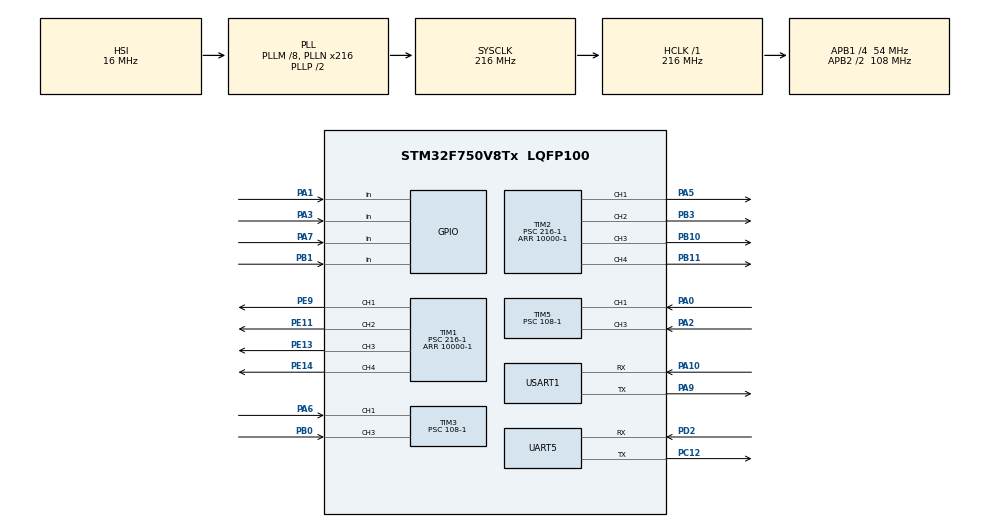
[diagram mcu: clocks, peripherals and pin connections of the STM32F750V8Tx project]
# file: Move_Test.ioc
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Mcu.Family=STM32F7
Mcu.Name=STM32F750V8Tx
Mcu.Package=LQFP100
NVIC.PriorityGroup=NVIC_PRIORITYGROUP_4
NVIC.TIM3_IRQn=true\:0\:0\:true\:false\:true\:true\:true\:true
NVIC.TIM5_IRQn=true\:1\:0\:true\:false\:true\:true\:true\:true
NVIC.TIM6_DAC_IRQn=true\:2\:0\:true\:false\:true\:true\:true\:true
NVIC.UART5_IRQn=true\:2\:0\:true\:false\:true\:true\:true\:true
NVIC.USART1_IRQn=true\:2\:0\:true\:false\:true\:true\:true\:true
PA0/WKUP.Signal=S_TIM5_CH1
PA1.GPIO_PuPd=GPIO_PULLDOWN
PA1.Signal=GPIO_Input
PA10.Mode=Asynchronous
PA10.Signal=USART1_RX
PA2.Signal=S_TIM5_CH3
PA3.GPIO_PuPd=GPIO_PULLDOWN
PA3.Signal=GPIO_Input
PA5.Signal=S_TIM2_CH1_ETR
PA6.Signal=S_TIM3_CH1
PA7.GPIO_PuPd=GPIO_PULLDOWN
PA7.Signal=GPIO_Input
PA9.Mode=Asynchronous
PA9.Signal=USART1_TX
PB0.Signal=S_TIM3_CH3
PB1.GPIO_PuPd=GPIO_PULLDOWN
PB1.Signal=GPIO_Input
PB10.Signal=S_TIM2_CH3
PB11.Signal=S_TIM2_CH4
PB3.Signal=S_TIM2_CH2
PC12.Mode=Asynchronous
PC12.Signal=UART5_TX
PD2.Mode=Asynchronous
PD2.Signal=UART5_RX
PE11.Signal=S_TIM1_CH2
PE13.Signal=S_TIM1_CH3
PE14.Signal=S_TIM1_CH4
PE9.Signal=S_TIM1_CH1
PH0/OSC_IN.Mode=HSE-External-Oscillator
PH0/OSC_IN.Signal=RCC_OSC_IN
PH1/OSC_OUT.Mode=HSE-External-Oscillator
PH1/OSC_OUT.Signal=RCC_OSC_OUT
ProjectManager.HeapSize=0x200
ProjectManager.StackSize=0x400
ProjectManager.TargetToolchain=MDK-ARM V5.32
RCC.AHBFreq_Value=216000000
RCC.APB1CLKDivider=RCC_HCLK_DIV4
RCC.APB1Freq_Value=54000000
RCC.APB1TimFreq_Value=108000000
RCC.APB2CLKDivider=RCC_HCLK_DIV2
RCC.APB2Freq_Value=108000000
RCC.APB2TimFreq_Value=216000000
RCC.CortexFreq_Value=216000000
RCC.HCLKFreq_Value=216000000
RCC.HSE_VALUE=25000000
RCC.HSI_VALUE=16000000
RCC.LSE_VALUE=32768
RCC.PLLM=8
RCC.PLLN=216
RCC.SYSCLKFreq_VALUE=216000000
RCC.SYSCLKSource=RCC_SYSCLKSOURCE_PLLCLK
RCC.USBFreq_Value=216000000
RCC.VCOOutputFreq_Value=432000000
SH.S_TIM1_CH1.0=TIM1_CH1,PWM Generation1 CH1
SH.S_TIM1_CH2.0=TIM1_CH2,PWM Generation2 CH2
SH.S_TIM1_CH3.0=TIM1_CH3,PWM Generation3 CH3
SH.S_TIM1_CH4.0=TIM1_CH4,PWM Generation4 CH4
SH.S_TIM2_CH1_ETR.0=TIM2_CH1,PWM Generation1 CH1
SH.S_TIM2_CH2.0=TIM2_CH2,PWM Generation2 CH2
SH.S_TIM2_CH3.0=TIM2_CH3,PWM Generation3 CH3
SH.S_TIM2_CH4.0=TIM2_CH4,PWM Generation4 CH4
SH.S_TIM3_CH1.0=TIM3_CH1,Input_Capture1_from_TI1
SH.S_TIM3_CH3.0=TIM3_CH3,Input_Capture3_from_TI3
SH.S_TIM5_CH1.0=TIM5_CH1,Input_Capture1_from_TI1
SH.S_TIM5_CH3.0=TIM5_CH3,Input_Capture3_from_TI3
TIM1.Channel-PWM\ Generation1\ CH1=TIM_CHANNEL_1
TIM1.Channel-PWM\ Generation2\ CH2=TIM_CHANNEL_2
TIM1.Channel-PWM\ Generation3\ CH3=TIM_CHANNEL_3
TIM1.Channel-PWM\ Generation4\ CH4=TIM_CHANNEL_4
TIM1.Period=10000-1
TIM1.Prescaler=216-1
TIM2.Channel-PWM\ Generation1\ CH1=TIM_CHANNEL_1
TIM2.Channel-PWM\ Generation2\ CH2=TIM_CHANNEL_2
TIM2.Channel-PWM\ Generation3\ CH3=TIM_CHANNEL_3
TIM2.Channel-PWM\ Generation4\ CH4=TIM_CHANNEL_4
TIM2.Period=10000-1
TIM2.Prescaler=216-1
TIM3.Channel-Input_Capture1_from_TI1=TIM_CHANNEL_1
TIM3.Channel-Input_Capture3_from_TI3=TIM_CHANNEL_3
TIM3.Prescaler=108-1
TIM5.Channel-Input_Capture1_from_TI1=TIM_CHANNEL_1
TIM5.Channel-Input_Capture3_from_TI3=TIM_CHANNEL_3
TIM5.Period=65535
TIM5.Prescaler=108-1
TIM6.AutoReloadPreload=TIM_AUTORELOAD_PRELOAD_ENABLE
TIM6.Period=10000-1
TIM6.Prescaler=108-1
USART1.VirtualMode-Asynchronous=VM_ASYNC
VP_TIM6_VS_ClockSourceINT.Mode=Enable_Timer
board=custom

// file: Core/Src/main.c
/* USER CODE BEGIN Header */
/**
  ******************************************************************************
  * @file           : main.c
  * @brief          : Main program body
  ******************************************************************************
  * @attention
  *
  * Copyright (c) 2023 STMicroelectronics.
  * All rights reserved.
  *
  * This software is licensed under terms that can be found in the LICENSE file
  * in the root directory of this software component.
  * If no LICENSE file comes with this software, it is provided AS-IS.
  *
  ******************************************************************************
  */
/* USER CODE END Header */
#include "main.h"
#include "tim.h"
#include "usart.h"
#include "gpio.h"

/* USER CODE BEGIN Includes */
#include "wheel_config.h"
#include "wheel.h"
#include "wheel_task.h"
#include "imu.h"
#include <stdio.h>
#include "Serial.h"
#include "imu_task.h"
#include "usmart.h"
#include "time_delay.h"
/* USER CODE END Includes */

/* USER CODE BEGIN PV */
extern motor_t motor1;
extern motor_t motor2;
extern motor_t motor3;
extern motor_t motor4;

extern	pid_data_t motor1_pid_data;
extern	pid_data_t motor2_pid_data;
extern	pid_data_t motor3_pid_data;
extern	pid_data_t motor4_pid_data;

extern pid_data_t imu_pid_data;

int16_t i = 0;
uint8_t Buffer;

/* USER CODE END PV */

void SystemClock_Config(void);

int main(void)
{

  /* MCU Configuration--------------------------------------------------------*/

  /* Reset of all peripherals, Initializes the Flash interface and the Systick. */
  HAL_Init();

  /* Configure the system clock */
  SystemClock_Config();

  /* Initialize all configured peripherals */
  MX_GPIO_Init();
  MX_TIM1_Init();
  MX_TIM2_Init();
  MX_TIM3_Init();
  MX_TIM5_Init();
  MX_TIM6_Init();
  MX_UART5_Init();
  MX_USART1_UART_Init();
  /* USER CODE BEGIN 2 */
  HAL_UART_Receive_IT(&huart1,&Buffer,1);
  usmart_dev.init(108);   //初始化USMART testtest
  usmart_init(108);
  motor1_Enable(&motor1);
  motor2_Enable(&motor2);
  motor3_Enable(&motor3);
  motor4_Enable(&motor4);
  motor_pid_data_init(&motor1_pid_data);
  motor_pid_data_init(&motor2_pid_data);
  motor_pid_data_init(&motor3_pid_data);
  motor_pid_data_init(&motor4_pid_data);

  set_chassis_speed (0,0,0);
  receive_imu901_Init(&attitude);
  delay_init();
  imu_pid_data_init(&imu_pid_data);
  imu_calibration();
  delay_ms (1000);
  set_imu_status(&attitude,false);

  HAL_TIM_Base_Start_IT(&htim6);
  /* USER CODE END 2 */

  /* Infinite loop */
  /* USER CODE BEGIN WHILE */
  while (1)
  {
//	  chassis_synthetic_control();
//	  HAL_Delay (50);
//	  if(i == 200)
//	  {
//		set_chassis_speed (0,150,0);
//		i = -200;
//	  }
//	  else if(i == 0)
//	  {
//		set_chassis_speed (0,0,0);
//	  }
//	  i++;
//	  set_chassis_speed (0,150,0);
//	  delay_ms (800);
//	  set_chassis_speed (0,0,0);
//	  delay_ms (800);
    /* USER CODE END WHILE */

  }
}

void SystemClock_Config(void)
{
  RCC_OscInitTypeDef RCC_OscInitStruct = {0};
  RCC_ClkInitTypeDef RCC_ClkInitStruct = {0};

  /** Configure the main internal regulator output voltage
  */
  __HAL_RCC_PWR_CLK_ENABLE();
  __HAL_PWR_VOLTAGESCALING_CONFIG(PWR_REGULATOR_VOLTAGE_SCALE1);

  /** Initializes the RCC Oscillators according to the specified parameters
  * in the RCC_OscInitTypeDef structure.
  */
  RCC_OscInitStruct.OscillatorType = RCC_OSCILLATORTYPE_HSI;
  RCC_OscInitStruct.HSIState = RCC_HSI_ON;
  RCC_OscInitStruct.HSICalibrationValue = RCC_HSICALIBRATION_DEFAULT;
  RCC_OscInitStruct.PLL.PLLState = RCC_PLL_ON;
  RCC_OscInitStruct.PLL.PLLSource = RCC_PLLSOURCE_HSI;
  RCC_OscInitStruct.PLL.PLLM = 8;
  RCC_OscInitStruct.PLL.PLLN = 216;
  RCC_OscInitStruct.PLL.PLLP = RCC_PLLP_DIV2;
  RCC_OscInitStruct.PLL.PLLQ = 2;
  if (HAL_RCC_OscConfig(&RCC_OscInitStruct) != HAL_OK)
  {
    Error_Handler();
  }

  /** Activate the Over-Drive mode
  */
  if (HAL_PWREx_EnableOverDrive() != HAL_OK)
  {
    Error_Handler();
  }

  /** Initializes the CPU, AHB and APB buses clocks
  */
  RCC_ClkInitStruct.ClockType = RCC_CLOCKTYPE_HCLK|RCC_CLOCKTYPE_SYSCLK
                              |RCC_CLOCKTYPE_PCLK1|RCC_CLOCKTYPE_PCLK2;
  RCC_ClkInitStruct.SYSCLKSource = RCC_SYSCLKSOURCE_PLLCLK;
  RCC_ClkInitStruct.AHBCLKDivider = RCC_SYSCLK_DIV1;
  RCC_ClkInitStruct.APB1CLKDivider = RCC_HCLK_DIV4;
  RCC_ClkInitStruct.APB2CLKDivider = RCC_HCLK_DIV2;

  if (HAL_RCC_ClockConfig(&RCC_ClkInitStruct, FLASH_LATENCY_7) != HAL_OK)
  {
    Error_Handler();
  }
}

/* USER CODE BEGIN 4 */

//void HAL_TIM_IC_CaptureCallback(TIM_HandleTypeDef *htim)
//{
//	if(htim->Instance == TIM6)
//	{
//		chassis_synthetic_control();
//	}
//}

/* USER CODE END 4 */

void Error_Handler(void)
{
  __disable_irq();
  while (1)
  {
  }
}
